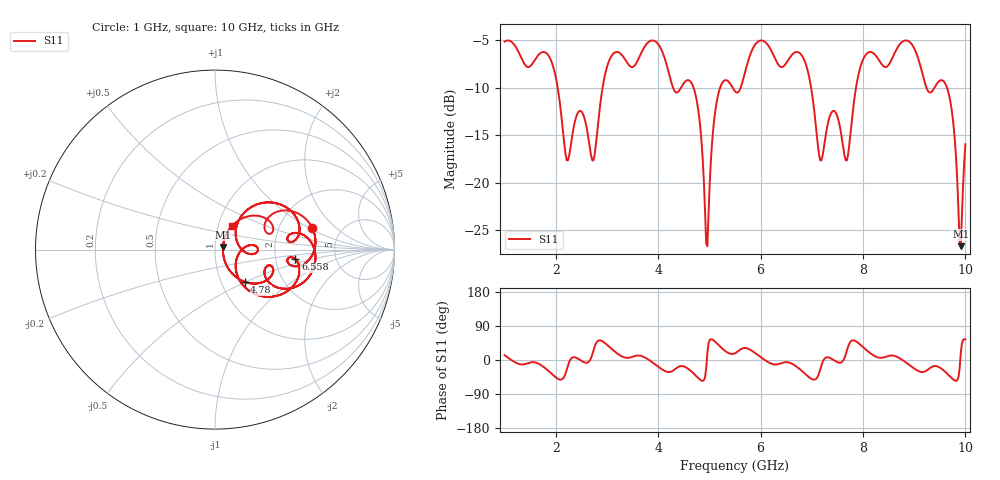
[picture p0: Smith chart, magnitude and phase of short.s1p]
!Created with skrf (http://scikit-rf.org).
# GHz S RI R 50.0
!freq ReS11 ImS11
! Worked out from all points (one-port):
!   401 points, 1 GHz to 10 GHz, reference 50 ohm
!   lowest |S11| = -26.7 dB at 9.91 GHz (marker M1), VSWR 1.10, Z = 54.6 + j1.59 ohm
!   |S11| at or under -10 dB: 2.037 GHz to 2.913 GHz (875.7 MHz wide, 35.4 % of centre); 4.692 GHz to 5.208 GHz (515.8 MHz wide, 10.4 % of centre); 6.987 GHz to 7.863 GHz (875.7 MHz wide, 11.8 % of centre) (the widest 3 of 7)
!   S11 on the Smith chart (normalised r, x): 1 GHz: 3.07, +1.09; 4.78 GHz: 1.29, -0.49; 6.558 GHz: 2.59, -0.35; 10 GHz: 1.16, +0.31
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1  0.5411 0.1226
1.855  0.4115 -0.2254
2.125  0.1301 -0.1587
2.2375  0.1271 -0.033
2.5075  0.2361 -0.0113
2.7325  0.1199 0.0525
2.98  0.2876 0.2631
3.25  0.4709 0.1052
3.9025  0.5565 -0.078
4.375  0.2819 -0.1008
4.78  0.1654 -0.18
4.96  0.044 0.0145
5.1625  0.2122 0.1894
5.5  0.2891 0.0926
5.77  0.3937 0.2185
5.995  0.556 0.0804
6.5575  0.4481 -0.0532
6.625  0.468 -0.0878
6.9175  0.2907 -0.2633
7.165  0.1193 -0.0551
7.4125  0.2389 0.00445
7.66  0.1282 0.0307
7.75  0.1197 0.1295
8.0425  0.4094 0.227
8.875  0.5508 -0.0995
9.6625  0.2378 -0.1884
9.91  0.044 0.0145
10  0.0925 0.1301
